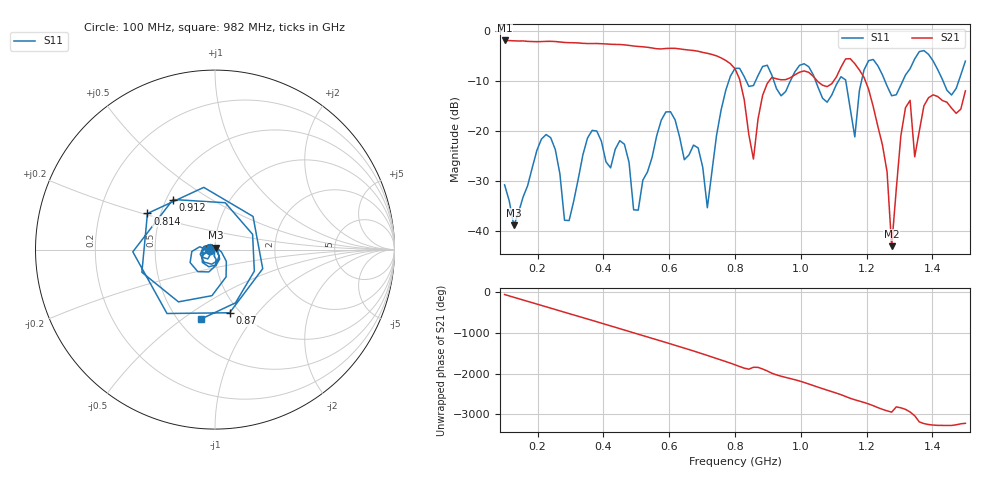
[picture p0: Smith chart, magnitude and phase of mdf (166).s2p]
! NanoVNA-App
! Date: 2025-09-25 15:39:43
! Start: 100MHz Stop: 1,5GHz Points: 101
! S-Parameter data: F S11 S21 S12 S22
# Hz S RI R 50
!  Frequency  S11_Real  S11_Imag  S21_Real  S21_Imag  S12_Real  S12_Imag  S22_Real  S22_Imag
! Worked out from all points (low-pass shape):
!   101 points, 100 MHz to 1.5 GHz, reference 50 ohm
!   highest |S21| = -1.80 dB at 100 MHz (marker M1); lowest = -43.1 dB at 1.276 GHz (marker M2)
!   |S21| within 3 dB of the highest: start of sweep to 739.3 MHz
!   lowest |S11| = -38.9 dB at 128 MHz (marker M3), VSWR 1.02, Z = 50.3 + j1.08 ohm
!   |S11| at or under -10 dB: start of sweep to 780.9 MHz; 1.045 GHz to 1.114 GHz (68.5 MHz wide, 6.34 % of centre); 1.256 GHz to 1.309 GHz (53.17 MHz wide, 4.15 % of centre) (the widest 3 of 7)
!   S12 and S22 are empty: the file has one direction only
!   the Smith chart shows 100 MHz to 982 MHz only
!   S11 on the Smith chart (normalised r, x): 100 MHz: 0.94, -0.01; 814 MHz: 0.42, +0.21; 870 MHz: 0.90, -0.73; 912 MHz: 0.54, +0.35; 982 MHz: 0.65, -0.59
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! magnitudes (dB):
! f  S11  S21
! 100 MHz  -30.8  -1.8
! 128 MHz  -38.9  -1.9
! 212 MHz  -21.6  -2.0
! 282 MHz  -37.9  -2.2
! 338 MHz  -24.7  -2.4
! 464 MHz  -22.6  -2.7
! 506 MHz  -35.9  -3.0
! 576 MHz  -17.8  -3.5
! 716 MHz  -35.4  -4.4
! 800 MHz  -7.4  -7.5
! 814 MHz  -7.4  -9.6
! 856 MHz  -10.9  -25.6
! 870 MHz  -8.8  -17.6
! 912 MHz  -8.8  -9.2
! 982 MHz  -8.1  -8.7
! 1.038 GHz  -8.7  -9.0
! 1.164 GHz  -21.2  -6.5
! 1.192 GHz  -7.7  -9.2
! 1.276 GHz  -12.9  -43.1
! 1.318 GHz  -8.7  -15.3
! 1.346 GHz  -5.5  -25.2
! 1.5 GHz  -6.0  -11.9
